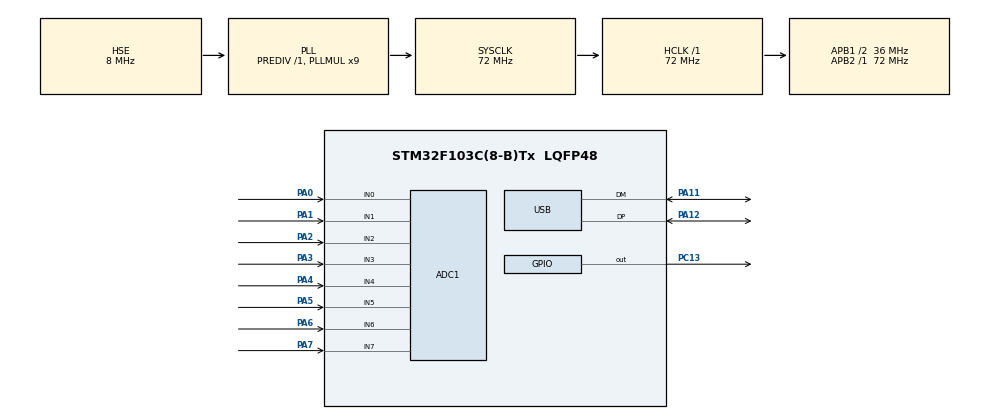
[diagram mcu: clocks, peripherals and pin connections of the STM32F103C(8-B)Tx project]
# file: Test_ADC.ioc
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ADC1.Channel-1\#ChannelRegularConversion=ADC_CHANNEL_0
ADC1.Channel-11\#ChannelRegularConversion=ADC_CHANNEL_TEMPSENSOR
ADC1.Channel-2\#ChannelRegularConversion=ADC_CHANNEL_1
ADC1.Channel-3\#ChannelRegularConversion=ADC_CHANNEL_2
ADC1.Channel-4\#ChannelRegularConversion=ADC_CHANNEL_3
ADC1.Channel-5\#ChannelRegularConversion=ADC_CHANNEL_4
ADC1.Channel-6\#ChannelRegularConversion=ADC_CHANNEL_5
ADC1.Channel-7\#ChannelRegularConversion=ADC_CHANNEL_6
ADC1.Channel-8\#ChannelRegularConversion=ADC_CHANNEL_7
ADC1.EnableRegularConversion=ENABLE
ADC1.NbrOfConversion=9
ADC1.NbrOfConversionFlag=1
ADC1.Rank-1\#ChannelRegularConversion=1
ADC1.Rank-11\#ChannelRegularConversion=9
ADC1.Rank-2\#ChannelRegularConversion=2
ADC1.Rank-3\#ChannelRegularConversion=3
ADC1.Rank-4\#ChannelRegularConversion=4
ADC1.Rank-5\#ChannelRegularConversion=5
ADC1.Rank-6\#ChannelRegularConversion=6
ADC1.Rank-7\#ChannelRegularConversion=7
ADC1.Rank-8\#ChannelRegularConversion=8
ADC1.SamplingTime-1\#ChannelRegularConversion=ADC_SAMPLETIME_41CYCLES_5
ADC1.SamplingTime-11\#ChannelRegularConversion=ADC_SAMPLETIME_41CYCLES_5
ADC1.SamplingTime-2\#ChannelRegularConversion=ADC_SAMPLETIME_41CYCLES_5
ADC1.SamplingTime-3\#ChannelRegularConversion=ADC_SAMPLETIME_41CYCLES_5
ADC1.SamplingTime-4\#ChannelRegularConversion=ADC_SAMPLETIME_41CYCLES_5
ADC1.SamplingTime-5\#ChannelRegularConversion=ADC_SAMPLETIME_41CYCLES_5
ADC1.SamplingTime-6\#ChannelRegularConversion=ADC_SAMPLETIME_41CYCLES_5
ADC1.SamplingTime-7\#ChannelRegularConversion=ADC_SAMPLETIME_41CYCLES_5
ADC1.SamplingTime-8\#ChannelRegularConversion=ADC_SAMPLETIME_41CYCLES_5
ADC1.master=1
Dma.ADC1.0.Direction=DMA_PERIPH_TO_MEMORY
Dma.ADC1.0.Instance=DMA1_Channel1
Dma.ADC1.0.MemDataAlignment=DMA_MDATAALIGN_HALFWORD
Dma.ADC1.0.MemInc=DMA_MINC_ENABLE
Dma.ADC1.0.Mode=DMA_NORMAL
Dma.ADC1.0.PeriphDataAlignment=DMA_PDATAALIGN_HALFWORD
Dma.ADC1.0.PeriphInc=DMA_PINC_DISABLE
Dma.ADC1.0.Priority=DMA_PRIORITY_LOW
Dma.Request0=ADC1
Mcu.Family=STM32F1
Mcu.Name=STM32F103C(8-B)Tx
Mcu.Package=LQFP48
NVIC.DMA1_Channel1_IRQn=true\:0\:0\:false\:false\:true\:false\:true\:true
NVIC.PriorityGroup=NVIC_PRIORITYGROUP_4
NVIC.TIM1_UP_IRQn=true\:0\:0\:false\:false\:true\:true\:true\:true
NVIC.USB_LP_CAN1_RX0_IRQn=true\:0\:0\:false\:false\:true\:false\:true\:true
PA0-WKUP.Signal=ADCx_IN0
PA1.Signal=ADCx_IN1
PA11.Mode=Device
PA11.Signal=USB_DM
PA12.Mode=Device
PA12.Signal=USB_DP
PA13.Mode=Serial_Wire
PA13.Signal=SYS_JTMS-SWDIO
PA14.Mode=Serial_Wire
PA14.Signal=SYS_JTCK-SWCLK
PA2.Signal=ADCx_IN2
PA3.Signal=ADCx_IN3
PA4.Signal=ADCx_IN4
PA5.Signal=ADCx_IN5
PA6.Signal=ADCx_IN6
PA7.Signal=ADCx_IN7
PC13-TAMPER-RTC.Signal=GPIO_Output
PD0-OSC_IN.Mode=HSE-External-Oscillator
PD0-OSC_IN.Signal=RCC_OSC_IN
PD1-OSC_OUT.Mode=HSE-External-Oscillator
PD1-OSC_OUT.Signal=RCC_OSC_OUT
ProjectManager.HeapSize=0x200
ProjectManager.StackSize=0x400
ProjectManager.TargetToolchain=STM32CubeIDE
RCC.ADCPresc=RCC_ADCPCLK2_DIV6
RCC.AHBFreq_Value=72000000
RCC.APB1CLKDivider=RCC_HCLK_DIV2
RCC.APB1Freq_Value=36000000
RCC.APB1TimFreq_Value=72000000
RCC.APB2Freq_Value=72000000
RCC.APB2TimFreq_Value=72000000
RCC.HCLKFreq_Value=72000000
RCC.PLLMUL=RCC_PLL_MUL9
RCC.SYSCLKFreq_VALUE=72000000
RCC.SYSCLKSource=RCC_SYSCLKSOURCE_PLLCLK
RCC.USBFreq_Value=48000000
RCC.USBPrescaler=RCC_USBCLKSOURCE_PLL_DIV1_5
SH.ADCx_IN0.0=ADC1_IN0,IN0
SH.ADCx_IN1.0=ADC1_IN1,IN1
SH.ADCx_IN2.0=ADC1_IN2,IN2
SH.ADCx_IN3.0=ADC1_IN3,IN3
SH.ADCx_IN4.0=ADC1_IN4,IN4
SH.ADCx_IN5.0=ADC1_IN5,IN5
SH.ADCx_IN6.0=ADC1_IN6,IN6
SH.ADCx_IN7.0=ADC1_IN7,IN7
TIM1.Period=9999
TIM1.Prescaler=7199
USB_DEVICE.CLASS_NAME_FS=CDC
USB_DEVICE.VirtualMode=Cdc
USB_DEVICE.VirtualModeFS=Cdc_FS
VP_ADC1_TempSens_Input.Mode=IN-TempSens
VP_TIM1_VS_ClockSourceINT.Mode=Internal
VP_USB_DEVICE_VS_USB_DEVICE_CDC_FS.Mode=CDC_FS
board=custom

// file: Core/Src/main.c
/* USER CODE BEGIN Header */
/**
  ******************************************************************************
  * @file           : main.c
  * @brief          : Main program body
  ******************************************************************************
  * @attention
  *
  * Copyright (c) 2023 STMicroelectronics.
  * All rights reserved.
  *
  * This software is licensed under terms that can be found in the LICENSE file
  * in the root directory of this software component.
  * If no LICENSE file comes with this software, it is provided AS-IS.
  *
  ******************************************************************************
  */
/* USER CODE END Header */
#include "main.h"
#include "usb_device.h"

/* USER CODE BEGIN Includes */
#include "usbd_cdc_if.h"
#include "string.h"
/* USER CODE END Includes */

/* USER CODE BEGIN PD */
#define ARR_LOG 8         // размер массив для логирования
#define ADC_CHANNELS_NUM 9 // количестов каналов АЦП
#define tV_25   1.34f      // напряжение (в вольтах) на датчике при температуре 25 °C.
#define tSlope  0.0043f    // изменение напряжения (в вольтах) при изменении температуры на градус.
/* USER CODE END PD */

ADC_HandleTypeDef hadc1;
DMA_HandleTypeDef hdma_adc1;

TIM_HandleTypeDef htim1;

/* USER CODE BEGIN PV */

uint16_t adcData[ADC_CHANNELS_NUM]; // массив данных с ADC
char transmit_str[80] = {0,};       // массив для записи и передачи времени, напряжения и температуры
uint8_t flag_adc = 0;               // флаг ADC
uint8_t flag_tim = 0;               // флаг TIMER

unsigned int second = 0;            // переменная, сохраняющая секунды
float average_voltage = 0;          // значение напряжения, усредненное по 8-и каналам
float temp = 0;                     // значение температуры
unsigned int measurement_number = 0;// номер измерения

uint8_t flag_receive = 0;           // флаг RECIVER
char command_code;                  // код команды

unsigned int arr_second_log[ARR_LOG] ={0,}; // массив секунд
float arr_voltage_log[ARR_LOG] = {0,};      // массив напряжений
float arr_temp_log[ARR_LOG] = {0,};         // массив температуры

unsigned int arr_second_log_wrn[ARR_LOG] ={0,};  // массив времени предупреждения
unsigned int arr_number_log_wrn[ARR_LOG] = {0,}; // массив номеров измерений с предупреждением
float arr_temp_log_wrn[ARR_LOG] = {0,};          // массив превышенной температуры

//uint8_t buff_1[7] = "1 get\r\n";
//uint8_t buff_2[7] = "2 get\r\n";
//uint8_t buff_3[7] = "3 get\r\n";
/* USER CODE END PV */

void SystemClock_Config(void);
static void MX_GPIO_Init(void);
static void MX_DMA_Init(void);
static void MX_ADC1_Init(void);
static void MX_TIM1_Init(void);
/* USER CODE BEGIN PFP */

void array_shift_int(unsigned int arr[]);
void array_shift_float(float arr[]);
void logging(const unsigned int number_log, const unsigned int second_log, const float voltage_log, const float temp_log);
void logging_wrn(const unsigned int number_log, const unsigned int second_log, const float temp_log);
void print_log_inf_usb(unsigned int number_log);
void print_log_wrn_usb();

/* USER CODE END PFP */

/* USER CODE BEGIN 0 */
void HAL_ADC_ConvCpltCallback(ADC_HandleTypeDef* hadc)
{
  if(hadc->Instance == ADC1)
  {
	  flag_adc = 1;
  }
}
void HAL_TIM_PeriodElapsedCallback(TIM_HandleTypeDef *htim1)
{
	if(htim1->Instance == TIM1)
	{
		flag_tim = 1;
		++second;
	}
}
/* USER CODE END 0 */

int main(void)
{

  /* MCU Configuration--------------------------------------------------------*/

  /* Reset of all peripherals, Initializes the Flash interface and the Systick. */
  HAL_Init();

  /* Configure the system clock */
  SystemClock_Config();

  /* Initialize all configured peripherals */
  MX_GPIO_Init();
  MX_DMA_Init();
  MX_ADC1_Init();
  MX_USB_DEVICE_Init();
  MX_TIM1_Init();
  /* USER CODE BEGIN 2 */
  HAL_ADC_Start_DMA(&hadc1, (uint32_t*)adcData, ADC_CHANNELS_NUM);
  HAL_TIM_Base_Start_IT(&htim1);
  /* USER CODE END 2 */

  /* Infinite loop */
  /* USER CODE BEGIN WHILE */
  while(second < 5) {}
  while (1)
  {
	  if(flag_tim == 1)
	  {
      	++measurement_number;
      	sprintf(transmit_str, "%u \t %.3f V\t %.2f T\t\r\n", measurement_number, average_voltage, temp);
      	logging(measurement_number, second, average_voltage, temp);
      	if(measurement_number < 10){
      		CDC_Transmit_FS((uint8_t*)transmit_str, 23);
      	} else if (measurement_number >= 10 && measurement_number < 100){
      		CDC_Transmit_FS((uint8_t*)transmit_str, 24);
      	} else if(measurement_number >= 100 && measurement_number < 1000){
      		CDC_Transmit_FS((uint8_t*)transmit_str, 25);
      	} else {
      		CDC_Transmit_FS((uint8_t*)transmit_str, 26);
      	}
      	HAL_ADC_Start_DMA(&hadc1, (uint32_t*)adcData, ADC_CHANNELS_NUM);
      	HAL_GPIO_TogglePin(GPIOC, GPIO_PIN_13);
      	flag_tim = 0;
	  }

	  if(flag_adc == 1)
	  {
		  average_voltage = 0;
		  temp = 0;
		  for (uint8_t i = 0; i < ADC_CHANNELS_NUM; i++)
		  {
			  if(i == 8){
				  temp = ((adcData[i] * 3.3) / 4095);
				  temp = ((tV_25 - temp) / tSlope) + 25;
				  if(temp > 28){
					  logging_wrn(measurement_number, second, temp);
				  }
			  } else {
				  average_voltage += ((adcData[i] * 3.3) / 4095);
			  }
		  }
		  average_voltage /= 8;
		  flag_adc = 0;
	  }

	  if(flag_receive == 1){

		  switch(command_code)
		  {
		  case '1':
			  print_log_inf_usb(measurement_number);
			  break;
		  case '2':
			  print_log_wrn_usb();
			  break;
		  }
	      flag_receive = 0;
	  }
    /* USER CODE END WHILE */

  }
}

void SystemClock_Config(void)
{
  RCC_OscInitTypeDef RCC_OscInitStruct = {0};
  RCC_ClkInitTypeDef RCC_ClkInitStruct = {0};
  RCC_PeriphCLKInitTypeDef PeriphClkInit = {0};

  /** Initializes the RCC Oscillators according to the specified parameters
  * in the RCC_OscInitTypeDef structure.
  */
  RCC_OscInitStruct.OscillatorType = RCC_OSCILLATORTYPE_HSE;
  RCC_OscInitStruct.HSEState = RCC_HSE_ON;
  RCC_OscInitStruct.HSEPredivValue = RCC_HSE_PREDIV_DIV1;
  RCC_OscInitStruct.HSIState = RCC_HSI_ON;
  RCC_OscInitStruct.PLL.PLLState = RCC_PLL_ON;
  RCC_OscInitStruct.PLL.PLLSource = RCC_PLLSOURCE_HSE;
  RCC_OscInitStruct.PLL.PLLMUL = RCC_PLL_MUL9;
  if (HAL_RCC_OscConfig(&RCC_OscInitStruct) != HAL_OK)
  {
    Error_Handler();
  }

  /** Initializes the CPU, AHB and APB buses clocks
  */
  RCC_ClkInitStruct.ClockType = RCC_CLOCKTYPE_HCLK|RCC_CLOCKTYPE_SYSCLK
                              |RCC_CLOCKTYPE_PCLK1|RCC_CLOCKTYPE_PCLK2;
  RCC_ClkInitStruct.SYSCLKSource = RCC_SYSCLKSOURCE_PLLCLK;
  RCC_ClkInitStruct.AHBCLKDivider = RCC_SYSCLK_DIV1;
  RCC_ClkInitStruct.APB1CLKDivider = RCC_HCLK_DIV2;
  RCC_ClkInitStruct.APB2CLKDivider = RCC_HCLK_DIV1;

  if (HAL_RCC_ClockConfig(&RCC_ClkInitStruct, FLASH_LATENCY_2) != HAL_OK)
  {
    Error_Handler();
  }
  PeriphClkInit.PeriphClockSelection = RCC_PERIPHCLK_ADC|RCC_PERIPHCLK_USB;
  PeriphClkInit.AdcClockSelection = RCC_ADCPCLK2_DIV6;
  PeriphClkInit.UsbClockSelection = RCC_USBCLKSOURCE_PLL_DIV1_5;
  if (HAL_RCCEx_PeriphCLKConfig(&PeriphClkInit) != HAL_OK)
  {
    Error_Handler();
  }
}

static void MX_ADC1_Init(void)
{

  ADC_ChannelConfTypeDef sConfig = {0};

  /** Common config
  */
  hadc1.Instance = ADC1;
  hadc1.Init.ScanConvMode = ADC_SCAN_ENABLE;
  hadc1.Init.ContinuousConvMode = DISABLE;
  hadc1.Init.DiscontinuousConvMode = DISABLE;
  hadc1.Init.ExternalTrigConv = ADC_SOFTWARE_START;
  hadc1.Init.DataAlign = ADC_DATAALIGN_RIGHT;
  hadc1.Init.NbrOfConversion = 9;
  if (HAL_ADC_Init(&hadc1) != HAL_OK)
  {
    Error_Handler();
  }

  /** Configure Regular Channel
  */
  sConfig.Channel = ADC_CHANNEL_0;
  sConfig.Rank = ADC_REGULAR_RANK_1;
  sConfig.SamplingTime = ADC_SAMPLETIME_41CYCLES_5;
  if (HAL_ADC_ConfigChannel(&hadc1, &sConfig) != HAL_OK)
  {
    Error_Handler();
  }

  /** Configure Regular Channel
  */
  sConfig.Channel = ADC_CHANNEL_1;
  sConfig.Rank = ADC_REGULAR_RANK_2;
  if (HAL_ADC_ConfigChannel(&hadc1, &sConfig) != HAL_OK)
  {
    Error_Handler();
  }

  /** Configure Regular Channel
  */
  sConfig.Channel = ADC_CHANNEL_2;
  sConfig.Rank = ADC_REGULAR_RANK_3;
  if (HAL_ADC_ConfigChannel(&hadc1, &sConfig) != HAL_OK)
  {
    Error_Handler();
  }

  /** Configure Regular Channel
  */
  sConfig.Channel = ADC_CHANNEL_3;
  sConfig.Rank = ADC_REGULAR_RANK_4;
  if (HAL_ADC_ConfigChannel(&hadc1, &sConfig) != HAL_OK)
  {
    Error_Handler();
  }

  /** Configure Regular Channel
  */
  sConfig.Channel = ADC_CHANNEL_4;
  sConfig.Rank = ADC_REGULAR_RANK_5;
  if (HAL_ADC_ConfigChannel(&hadc1, &sConfig) != HAL_OK)
  {
    Error_Handler();
  }

  /** Configure Regular Channel
  */
  sConfig.Channel = ADC_CHANNEL_5;
  sConfig.Rank = ADC_REGULAR_RANK_6;
  if (HAL_ADC_ConfigChannel(&hadc1, &sConfig) != HAL_OK)
  {
    Error_Handler();
  }

  /** Configure Regular Channel
  */
  sConfig.Channel = ADC_CHANNEL_6;
  sConfig.Rank = ADC_REGULAR_RANK_7;
  if (HAL_ADC_ConfigChannel(&hadc1, &sConfig) != HAL_OK)
  {
    Error_Handler();
  }

  /** Configure Regular Channel
  */
  sConfig.Channel = ADC_CHANNEL_7;
  sConfig.Rank = ADC_REGULAR_RANK_8;
  if (HAL_ADC_ConfigChannel(&hadc1, &sConfig) != HAL_OK)
  {
    Error_Handler();
  }

  /** Configure Regular Channel
  */
  sConfig.Channel = ADC_CHANNEL_TEMPSENSOR;
  sConfig.Rank = ADC_REGULAR_RANK_9;
  if (HAL_ADC_ConfigChannel(&hadc1, &sConfig) != HAL_OK)
  {
    Error_Handler();
  }

}

static void MX_TIM1_Init(void)
{

  TIM_ClockConfigTypeDef sClockSourceConfig = {0};
  TIM_MasterConfigTypeDef sMasterConfig = {0};

  htim1.Instance = TIM1;
  htim1.Init.Prescaler = 7199;
  htim1.Init.CounterMode = TIM_COUNTERMODE_UP;
  htim1.Init.Period = 9999;
  htim1.Init.ClockDivision = TIM_CLOCKDIVISION_DIV1;
  htim1.Init.RepetitionCounter = 0;
  htim1.Init.AutoReloadPreload = TIM_AUTORELOAD_PRELOAD_DISABLE;
  if (HAL_TIM_Base_Init(&htim1) != HAL_OK)
  {
    Error_Handler();
  }
  sClockSourceConfig.ClockSource = TIM_CLOCKSOURCE_INTERNAL;
  if (HAL_TIM_ConfigClockSource(&htim1, &sClockSourceConfig) != HAL_OK)
  {
    Error_Handler();
  }
  sMasterConfig.MasterOutputTrigger = TIM_TRGO_RESET;
  sMasterConfig.MasterSlaveMode = TIM_MASTERSLAVEMODE_DISABLE;
  if (HAL_TIMEx_MasterConfigSynchronization(&htim1, &sMasterConfig) != HAL_OK)
  {
    Error_Handler();
  }

}

static void MX_DMA_Init(void)
{

  /* DMA controller clock enable */
  __HAL_RCC_DMA1_CLK_ENABLE();

  /* DMA interrupt init */
  /* DMA1_Channel1_IRQn interrupt configuration */
  HAL_NVIC_SetPriority(DMA1_Channel1_IRQn, 0, 0);
  HAL_NVIC_EnableIRQ(DMA1_Channel1_IRQn);

}

static void MX_GPIO_Init(void)
{
  GPIO_InitTypeDef GPIO_InitStruct = {0};

  /* GPIO Ports Clock Enable */
  __HAL_RCC_GPIOC_CLK_ENABLE();
  __HAL_RCC_GPIOD_CLK_ENABLE();
  __HAL_RCC_GPIOA_CLK_ENABLE();

  /*Configure GPIO pin Output Level */
  HAL_GPIO_WritePin(GPIOC, GPIO_PIN_13, GPIO_PIN_RESET);

  /*Configure GPIO pin : PC13 */
  GPIO_InitStruct.Pin = GPIO_PIN_13;
  GPIO_InitStruct.Mode = GPIO_MODE_OUTPUT_PP;
  GPIO_InitStruct.Pull = GPIO_NOPULL;
  GPIO_InitStruct.Speed = GPIO_SPEED_FREQ_LOW;
  HAL_GPIO_Init(GPIOC, &GPIO_InitStruct);

}

/* USER CODE BEGIN 4 */

void array_shift_int(unsigned int arr[]){
    for(int i = ARR_LOG - 1; i > 0; --i){
        arr[i] = arr[i - 1];
    }
}
void array_shift_float(float arr[]){
    for(int i = ARR_LOG - 1; i > 0; --i){
        arr[i] = arr[i - 1];
    }
}

void logging_wrn(const unsigned int number_log, const unsigned int second_log, const float temp_log)
{
	array_shift_int(arr_number_log_wrn);
	array_shift_int(arr_second_log_wrn);
	array_shift_float(arr_temp_log_wrn);

	arr_number_log_wrn[0] = number_log;
	arr_second_log_wrn[0] = second_log;
	arr_temp_log_wrn[0] = temp_log;
}
void logging(const unsigned int number_log, const unsigned int second_log, const float voltage_log, const float temp_log)
{

	array_shift_int(arr_second_log);
	array_shift_float(arr_voltage_log);
	array_shift_float(arr_temp_log);

	arr_second_log[0] = second_log;
	arr_voltage_log[0] = voltage_log;
	arr_temp_log[0] = temp_log;
}

void print_log_inf_usb(unsigned int number_log){

	sprintf(transmit_str, "number: %u\t%u s\t%.2f V\t%.2f T\r\n"
			"number: %u\t%u s\t%.2f V\t%.2f T\r\n",
			number_log, arr_second_log[0], arr_voltage_log[0], arr_temp_log[0],
			number_log - 1, arr_second_log[1], arr_voltage_log[1], arr_temp_log[1]);
	if(number_log < 10){
		CDC_Transmit_FS((uint8_t*)transmit_str, 61);
	} else if (number_log >= 10 && number_log < 100){
		CDC_Transmit_FS((uint8_t*)transmit_str, 63);
	} else {
		CDC_Transmit_FS((uint8_t*)transmit_str, 68);
	}
	sprintf(transmit_str, "number: %u\t%u s\t%.2f V\t%.2f T\r\n"
			"number: %u\t%u s\t%.2f V\t%.2f T\r\n",
			number_log - 2, arr_second_log[2], arr_voltage_log[2], arr_temp_log[2],
			number_log - 3, arr_second_log[3], arr_voltage_log[3], arr_temp_log[3]);
	if(number_log < 10){
		CDC_Transmit_FS((uint8_t*)transmit_str, 61);
	} else if (number_log >= 10 && number_log < 100){
		CDC_Transmit_FS((uint8_t*)transmit_str, 63);
	} else {
		CDC_Transmit_FS((uint8_t*)transmit_str, 68);
	}
	sprintf(transmit_str, "number: %u\t%u s\t%.2f V\t%.2f T\r\n"
			"number: %u\t%u s\t%.2f V\t%.2f T\r\n",
			number_log - 4, arr_second_log[4], arr_voltage_log[4], arr_temp_log[4],
			number_log - 5, arr_second_log[5], arr_voltage_log[5], arr_temp_log[5]);
	if(number_log < 10){
		CDC_Transmit_FS((uint8_t*)transmit_str, 61);
	} else if (number_log >= 10 && number_log < 100){
		CDC_Transmit_FS((uint8_t*)transmit_str, 63);
	} else {
		CDC_Transmit_FS((uint8_t*)transmit_str, 68);
	}
	sprintf(transmit_str, "number: %u\t%u s\t%.2f V\t%.2f T\r\n"
			"number: %u\t%u s\t%.2f V\t%.2f T\r\n",
			number_log - 6, arr_second_log[6], arr_voltage_log[6], arr_temp_log[6],
			number_log - 7, arr_second_log[7], arr_voltage_log[7], arr_temp_log[7]);
	if(number_log < 10){
		CDC_Transmit_FS((uint8_t*)transmit_str, 61);
	} else if (number_log >= 10 && number_log < 100){
		CDC_Transmit_FS((uint8_t*)transmit_str, 63);
	} else {
		CDC_Transmit_FS((uint8_t*)transmit_str, 68);
	}
}

void print_log_wrn_usb(){
	sprintf(transmit_str, "number_wrn: %u\t%u s\t%.2f T\r\n"
			"number_wrn: %u\t%u s\t%.2f T\r\n",
			arr_number_log_wrn[0], arr_second_log_wrn[0], arr_temp_log_wrn[0],
			arr_number_log_wrn[1], arr_second_log_wrn[1], arr_temp_log_wrn[1]);
	if(arr_number_log_wrn[0] < 10){
		CDC_Transmit_FS((uint8_t*)transmit_str, 55);
	} else if (arr_number_log_wrn[0] >= 10 && arr_number_log_wrn[0] < 100){
		CDC_Transmit_FS((uint8_t*)transmit_str, 57);
	} else {
		CDC_Transmit_FS((uint8_t*)transmit_str, 62);
	}
	sprintf(transmit_str, "number_wrn: %u\t%u s\t%.2f T\r\n"
			"number_wrn: %u\t%u s\t%.2f T\r\n",
			arr_number_log_wrn[2], arr_second_log_wrn[2], arr_temp_log_wrn[2],
			arr_number_log_wrn[3], arr_second_log_wrn[3], arr_temp_log_wrn[3]);
	if(arr_number_log_wrn[0] < 10){
		CDC_Transmit_FS((uint8_t*)transmit_str, 55);
	} else if (arr_number_log_wrn[0] >= 10 && arr_number_log_wrn[0] < 100){
		CDC_Transmit_FS((uint8_t*)transmit_str, 57);
	} else {
		CDC_Transmit_FS((uint8_t*)transmit_str, 62);
	}
	sprintf(transmit_str, "number_wrn: %u\t%u s\t%.2f T\r\n"
			"number_wrn: %u\t%u s\t%.2f T\r\n",
			arr_number_log_wrn[4], arr_second_log_wrn[4], arr_temp_log_wrn[4],
			arr_number_log_wrn[5], arr_second_log_wrn[5], arr_temp_log_wrn[5]);
	if(arr_number_log_wrn[0] < 10){
		CDC_Transmit_FS((uint8_t*)transmit_str, 55);
	} else if (arr_number_log_wrn[0] >= 10 && arr_number_log_wrn[0] < 100){
		CDC_Transmit_FS((uint8_t*)transmit_str, 57);
	} else {
		CDC_Transmit_FS((uint8_t*)transmit_str, 62);
	}
	sprintf(transmit_str, "number_wrn: %u\t%u s\t%.2f T\r\n"
			"number_wrn: %u\t%u s\t%.2f T\r\n",
			arr_number_log_wrn[6], arr_second_log_wrn[6], arr_temp_log_wrn[6],
			arr_number_log_wrn[7], arr_second_log_wrn[7], arr_temp_log_wrn[7]);
	if(arr_number_log_wrn[0] < 10){
		CDC_Transmit_FS((uint8_t*)transmit_str, 55);
	} else if (arr_number_log_wrn[0] >= 10 && arr_number_log_wrn[0] < 100){
		CDC_Transmit_FS((uint8_t*)transmit_str, 57);
	} else {
		CDC_Transmit_FS((uint8_t*)transmit_str, 62);
	}
}

/* USER CODE END 4 */

void Error_Handler(void)
{
  __disable_irq();
  while (1)
  {
  }
}
